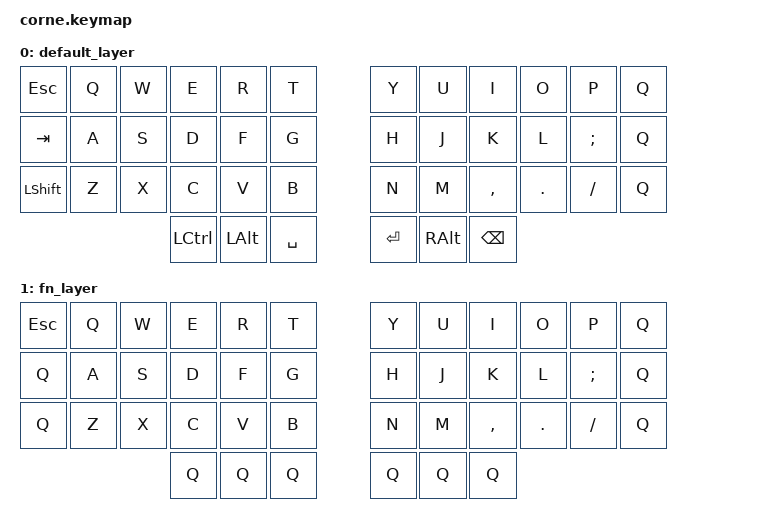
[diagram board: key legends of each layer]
#include <behaviors.dtsi>
#include <dt-bindings/zmk/keys.h>

/ {
    keymap {
        compatible = "zmk,keymap";

        default_layer {
            bindings = <
&kp ESC         &kp Q  &kp W  &kp E      &kp R         &kp T        &kp Y      &kp U          &kp I          &kp O    &kp P      &kp Q
&kp TAB         &kp A  &kp S  &kp D      &kp F         &kp G        &kp H      &kp J          &kp K          &kp L    &kp SEMI   &kp Q
&kp LEFT_SHIFT  &kp Z  &kp X  &kp C      &kp V         &kp B        &kp N      &kp M          &kp COMMA      &kp DOT  &kp SLASH  &kp Q
                              &kp LCTRL  &kp LEFT_ALT  &kp SPACE    &kp ENTER  &kp RIGHT_ALT  &kp BACKSPACE
            >;
        };

        fn_layer {
            bindings = <
&kp ESC  &kp Q  &kp W  &kp E  &kp R  &kp T    &kp Y  &kp U  &kp I      &kp O    &kp P      &kp Q
&kp Q    &kp A  &kp S  &kp D  &kp F  &kp G    &kp H  &kp J  &kp K      &kp L    &kp SEMI   &kp Q
&kp Q    &kp Z  &kp X  &kp C  &kp V  &kp B    &kp N  &kp M  &kp COMMA  &kp DOT  &kp SLASH  &kp Q
                       &kp Q  &kp Q  &kp Q    &kp Q  &kp Q  &kp Q
            >;
        };
    };
};
